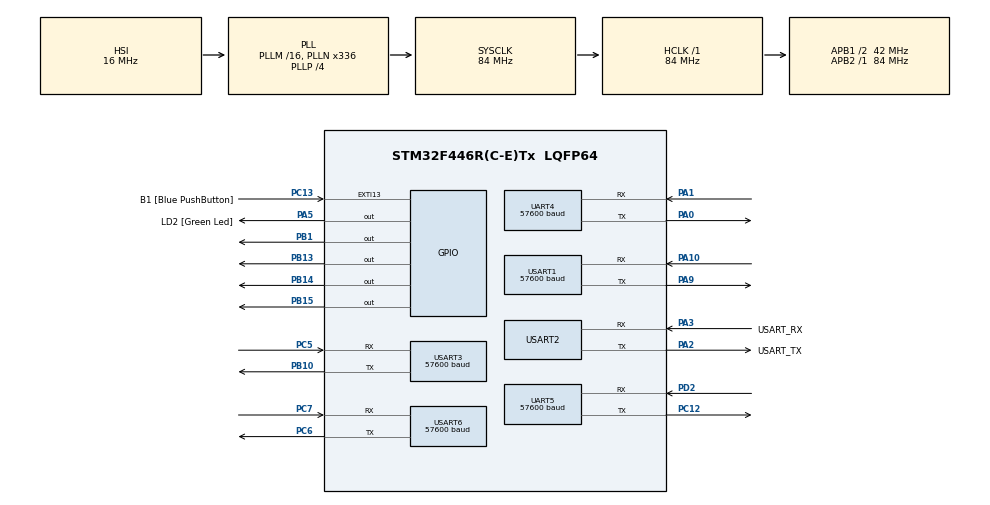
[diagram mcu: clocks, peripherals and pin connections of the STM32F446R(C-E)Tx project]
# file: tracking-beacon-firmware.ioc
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Dma.Request0=USART1_RX
Dma.Request1=UART5_RX
Dma.Request2=USART3_RX
Dma.Request3=USART6_RX
Dma.Request4=USART2_RX
Dma.Request5=USART2_TX
Dma.Request6=USART1_TX
Dma.Request7=UART4_RX
Dma.UART4_RX.7.Direction=DMA_PERIPH_TO_MEMORY
Dma.UART4_RX.7.FIFOMode=DMA_FIFOMODE_DISABLE
Dma.UART4_RX.7.Instance=DMA1_Stream2
Dma.UART4_RX.7.MemDataAlignment=DMA_MDATAALIGN_BYTE
Dma.UART4_RX.7.MemInc=DMA_MINC_ENABLE
Dma.UART4_RX.7.Mode=DMA_CIRCULAR
Dma.UART4_RX.7.PeriphDataAlignment=DMA_PDATAALIGN_BYTE
Dma.UART4_RX.7.PeriphInc=DMA_PINC_DISABLE
Dma.UART4_RX.7.Priority=DMA_PRIORITY_LOW
Dma.UART5_RX.1.Direction=DMA_PERIPH_TO_MEMORY
Dma.UART5_RX.1.FIFOMode=DMA_FIFOMODE_DISABLE
Dma.UART5_RX.1.Instance=DMA1_Stream0
Dma.UART5_RX.1.MemDataAlignment=DMA_MDATAALIGN_BYTE
Dma.UART5_RX.1.MemInc=DMA_MINC_ENABLE
Dma.UART5_RX.1.Mode=DMA_CIRCULAR
Dma.UART5_RX.1.PeriphDataAlignment=DMA_PDATAALIGN_BYTE
Dma.UART5_RX.1.PeriphInc=DMA_PINC_DISABLE
Dma.UART5_RX.1.Priority=DMA_PRIORITY_LOW
Dma.USART1_RX.0.Direction=DMA_PERIPH_TO_MEMORY
Dma.USART1_RX.0.FIFOMode=DMA_FIFOMODE_DISABLE
Dma.USART1_RX.0.Instance=DMA2_Stream2
Dma.USART1_RX.0.MemDataAlignment=DMA_MDATAALIGN_BYTE
Dma.USART1_RX.0.MemInc=DMA_MINC_ENABLE
Dma.USART1_RX.0.Mode=DMA_CIRCULAR
Dma.USART1_RX.0.PeriphDataAlignment=DMA_PDATAALIGN_BYTE
Dma.USART1_RX.0.PeriphInc=DMA_PINC_DISABLE
Dma.USART1_RX.0.Priority=DMA_PRIORITY_LOW
Dma.USART1_TX.6.Direction=DMA_MEMORY_TO_PERIPH
Dma.USART1_TX.6.FIFOMode=DMA_FIFOMODE_DISABLE
Dma.USART1_TX.6.Instance=DMA2_Stream7
Dma.USART1_TX.6.MemDataAlignment=DMA_MDATAALIGN_BYTE
Dma.USART1_TX.6.MemInc=DMA_MINC_ENABLE
Dma.USART1_TX.6.Mode=DMA_NORMAL
Dma.USART1_TX.6.PeriphDataAlignment=DMA_PDATAALIGN_BYTE
Dma.USART1_TX.6.PeriphInc=DMA_PINC_DISABLE
Dma.USART1_TX.6.Priority=DMA_PRIORITY_LOW
Dma.USART2_RX.4.Direction=DMA_PERIPH_TO_MEMORY
Dma.USART2_RX.4.FIFOMode=DMA_FIFOMODE_DISABLE
Dma.USART2_RX.4.Instance=DMA1_Stream5
Dma.USART2_RX.4.MemDataAlignment=DMA_MDATAALIGN_BYTE
Dma.USART2_RX.4.MemInc=DMA_MINC_ENABLE
Dma.USART2_RX.4.Mode=DMA_CIRCULAR
Dma.USART2_RX.4.PeriphDataAlignment=DMA_PDATAALIGN_BYTE
Dma.USART2_RX.4.PeriphInc=DMA_PINC_DISABLE
Dma.USART2_RX.4.Priority=DMA_PRIORITY_LOW
Dma.USART2_TX.5.Direction=DMA_MEMORY_TO_PERIPH
Dma.USART2_TX.5.FIFOMode=DMA_FIFOMODE_DISABLE
Dma.USART2_TX.5.Instance=DMA1_Stream6
Dma.USART2_TX.5.MemDataAlignment=DMA_MDATAALIGN_BYTE
Dma.USART2_TX.5.MemInc=DMA_MINC_ENABLE
Dma.USART2_TX.5.Mode=DMA_NORMAL
Dma.USART2_TX.5.PeriphDataAlignment=DMA_PDATAALIGN_BYTE
Dma.USART2_TX.5.PeriphInc=DMA_PINC_DISABLE
Dma.USART2_TX.5.Priority=DMA_PRIORITY_LOW
Dma.USART3_RX.2.Direction=DMA_PERIPH_TO_MEMORY
Dma.USART3_RX.2.FIFOMode=DMA_FIFOMODE_DISABLE
Dma.USART3_RX.2.Instance=DMA1_Stream1
Dma.USART3_RX.2.MemDataAlignment=DMA_MDATAALIGN_BYTE
Dma.USART3_RX.2.MemInc=DMA_MINC_ENABLE
Dma.USART3_RX.2.Mode=DMA_CIRCULAR
Dma.USART3_RX.2.PeriphDataAlignment=DMA_PDATAALIGN_BYTE
Dma.USART3_RX.2.PeriphInc=DMA_PINC_DISABLE
Dma.USART3_RX.2.Priority=DMA_PRIORITY_LOW
Dma.USART6_RX.3.Direction=DMA_PERIPH_TO_MEMORY
Dma.USART6_RX.3.FIFOMode=DMA_FIFOMODE_DISABLE
Dma.USART6_RX.3.Instance=DMA2_Stream1
Dma.USART6_RX.3.MemDataAlignment=DMA_MDATAALIGN_BYTE
Dma.USART6_RX.3.MemInc=DMA_MINC_ENABLE
Dma.USART6_RX.3.Mode=DMA_CIRCULAR
Dma.USART6_RX.3.PeriphDataAlignment=DMA_PDATAALIGN_BYTE
Dma.USART6_RX.3.PeriphInc=DMA_PINC_DISABLE
Dma.USART6_RX.3.Priority=DMA_PRIORITY_LOW
Mcu.Family=STM32F4
Mcu.Name=STM32F446R(C-E)Tx
Mcu.Package=LQFP64
NVIC.DMA1_Stream0_IRQn=true\:0\:0\:false\:false\:true\:false\:true\:true
NVIC.DMA1_Stream1_IRQn=true\:0\:0\:false\:false\:true\:false\:true\:true
NVIC.DMA1_Stream2_IRQn=true\:0\:0\:false\:false\:true\:false\:true\:true
NVIC.DMA1_Stream5_IRQn=true\:0\:0\:false\:false\:true\:false\:true\:true
NVIC.DMA1_Stream6_IRQn=true\:0\:0\:false\:false\:true\:false\:true\:true
NVIC.DMA2_Stream1_IRQn=true\:0\:0\:false\:false\:true\:false\:true\:true
NVIC.DMA2_Stream2_IRQn=true\:0\:0\:false\:false\:true\:false\:true\:true
NVIC.DMA2_Stream7_IRQn=true\:0\:0\:false\:false\:true\:false\:true\:true
NVIC.PriorityGroup=NVIC_PRIORITYGROUP_0
NVIC.UART4_IRQn=true\:0\:0\:false\:false\:true\:true\:true\:true
NVIC.UART5_IRQn=true\:0\:0\:false\:false\:true\:true\:true\:true
NVIC.USART1_IRQn=true\:0\:0\:false\:false\:true\:true\:true\:true
NVIC.USART2_IRQn=true\:0\:0\:false\:false\:true\:true\:true\:true
NVIC.USART3_IRQn=true\:0\:0\:false\:false\:true\:true\:true\:true
NVIC.USART6_IRQn=true\:0\:0\:false\:false\:true\:true\:true\:true
PA0-WKUP.Mode=Asynchronous
PA0-WKUP.Signal=UART4_TX
PA1.Mode=Asynchronous
PA1.Signal=UART4_RX
PA10.Mode=Asynchronous
PA10.Signal=USART1_RX
PA13.GPIO_Label=TMS
PA13.Mode=Serial_Wire
PA13.Signal=SYS_JTMS-SWDIO
PA14.GPIO_Label=TCK
PA14.Mode=Serial_Wire
PA14.Signal=SYS_JTCK-SWCLK
PA2.GPIO_Label=USART_TX
PA2.Mode=Asynchronous
PA2.Signal=USART2_TX
PA3.GPIO_Label=USART_RX
PA3.Mode=Asynchronous
PA3.Signal=USART2_RX
PA5.GPIO_Label=LD2 [Green Led]
PA5.Signal=GPIO_Output
PA9.Mode=Asynchronous
PA9.Signal=USART1_TX
PB1.Signal=GPIO_Output
PB10.Mode=Asynchronous
PB10.Signal=USART3_TX
PB13.Signal=GPIO_Output
PB14.Signal=GPIO_Output
PB15.Signal=GPIO_Output
PB3.GPIO_Label=SWO
PB3.Signal=SYS_JTDO-SWO
PC12.Mode=Asynchronous
PC12.Signal=UART5_TX
PC13.GPIO_Label=B1 [Blue PushButton]
PC13.GPIO_ModeDefaultEXTI=GPIO_MODE_IT_FALLING
PC13.Signal=GPXTI13
PC14-OSC32_IN.Mode=LSE-External-Oscillator
PC14-OSC32_IN.Signal=RCC_OSC32_IN
PC15-OSC32_OUT.Mode=LSE-External-Oscillator
PC15-OSC32_OUT.Signal=RCC_OSC32_OUT
PC5.Mode=Asynchronous
PC5.Signal=USART3_RX
PC6.Mode=Asynchronous
PC6.Signal=USART6_TX
PC7.Mode=Asynchronous
PC7.Signal=USART6_RX
PD2.Mode=Asynchronous
PD2.Signal=UART5_RX
PH0-OSC_IN.Mode=HSE-External-Oscillator
PH0-OSC_IN.Signal=RCC_OSC_IN
PH1-OSC_OUT.Mode=HSE-External-Oscillator
PH1-OSC_OUT.Signal=RCC_OSC_OUT
ProjectManager.HeapSize=0x800
ProjectManager.StackSize=0x1000
ProjectManager.TargetToolchain=CMake
RCC.48MHZClocksFreq_Value=84000000
RCC.AHBFreq_Value=84000000
RCC.APB1CLKDivider=RCC_HCLK_DIV2
RCC.APB1Freq_Value=42000000
RCC.APB1TimFreq_Value=84000000
RCC.APB2Freq_Value=84000000
RCC.APB2TimFreq_Value=84000000
RCC.CortexFreq_Value=84000000
RCC.FLatency-AdvancedSettings=FLASH_LATENCY_2
RCC.HCLKFreq_Value=84000000
RCC.HSE_VALUE=8000000
RCC.HSI_VALUE=16000000
RCC.PLLN=336
RCC.PLLP=RCC_PLLP_DIV4
RCC.SYSCLKFreq_VALUE=84000000
RCC.SYSCLKSource=RCC_SYSCLKSOURCE_PLLCLK
RCC.USBFreq_Value=168000000
RCC.VCOOutputFreq_Value=336000000
UART4.BaudRate=57600
UART4.VirtualMode=Asynchronous
UART5.BaudRate=57600
UART5.VirtualMode=Asynchronous
USART1.BaudRate=57600
USART1.VirtualMode=VM_ASYNC
USART2.VirtualMode=VM_ASYNC
USART3.BaudRate=57600
USART3.VirtualMode=VM_ASYNC
USART6.BaudRate=57600
USART6.VirtualMode=VM_ASYNC
board=NUCLEO-F446RE

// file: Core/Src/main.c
/* USER CODE BEGIN Header */
/**
  ******************************************************************************
  * @file           : main.c
  * @brief          : Main program body
  ******************************************************************************
  * @attention
  *
  * Copyright (c) 2026 STMicroelectronics.
  * All rights reserved.
  *
  * This software is licensed under terms that can be found in the LICENSE file
  * in the root directory of this software component.
  * If no LICENSE file comes with this software, it is provided AS-IS.
  *
  ******************************************************************************
  */
/* USER CODE END Header */
#include "main.h"

/* USER CODE BEGIN Includes */
#include "passthrough.h"
#include "rssi.h"
#include "stepper.h"
#include "setup.h"
/* USER CODE END Includes */

UART_HandleTypeDef huart4;
UART_HandleTypeDef huart5;
UART_HandleTypeDef huart1;
UART_HandleTypeDef huart2;
UART_HandleTypeDef huart3;
UART_HandleTypeDef huart6;
DMA_HandleTypeDef hdma_uart4_rx;
DMA_HandleTypeDef hdma_uart5_rx;
DMA_HandleTypeDef hdma_usart1_rx;
DMA_HandleTypeDef hdma_usart1_tx;
DMA_HandleTypeDef hdma_usart2_rx;
DMA_HandleTypeDef hdma_usart2_tx;
DMA_HandleTypeDef hdma_usart3_rx;
DMA_HandleTypeDef hdma_usart6_rx;

void SystemClock_Config(void);
static void MX_GPIO_Init(void);
static void MX_DMA_Init(void);
static void MX_USART2_UART_Init(void);
static void MX_USART1_UART_Init(void);
static void MX_UART5_Init(void);
static void MX_USART3_UART_Init(void);
static void MX_UART4_Init(void);
static void MX_USART6_UART_Init(void);

int main(void)
{

  /* MCU Configuration--------------------------------------------------------*/

  /* Reset of all peripherals, Initializes the Flash interface and the Systick. */
  HAL_Init();

  /* Configure the system clock */
  SystemClock_Config();

  /* Initialize all configured peripherals */
  MX_GPIO_Init();
  MX_DMA_Init();
  MX_USART2_UART_Init();
  MX_USART1_UART_Init();
  MX_UART5_Init();
  MX_USART3_UART_Init();
  MX_UART4_Init();
  MX_USART6_UART_Init();
  /* USER CODE BEGIN 2 */
  Stepper_Init(); //set gpios, pulse width, pulse delay, ...

  //to see the commands, run screen /dev/cu.usbmodem1103 115200 on a seperate terminal
  Setup_ManualAlign(); // blocks until user presses ENTER. uses uart2 to echo keys to the mcu, and translate those to commands for the stepper motor and driver
  Passthrough_Init();
  Setup_Init();
  RSSI_Init();
  /* USER CODE END 2 */

  /* Infinite loop */
  while (1)
  {

    /* USER CODE BEGIN 3 */
    Setup_Poll();
    RSSI_Poll();
    Stepper_Poll();
  }
  /* USER CODE END 3 */
}

void SystemClock_Config(void)
{
  RCC_OscInitTypeDef RCC_OscInitStruct = {0};
  RCC_ClkInitTypeDef RCC_ClkInitStruct = {0};

  /** Configure the main internal regulator output voltage
  */
  __HAL_RCC_PWR_CLK_ENABLE();
  __HAL_PWR_VOLTAGESCALING_CONFIG(PWR_REGULATOR_VOLTAGE_SCALE3);

  /** Initializes the RCC Oscillators according to the specified parameters
  * in the RCC_OscInitTypeDef structure.
  */
  RCC_OscInitStruct.OscillatorType = RCC_OSCILLATORTYPE_HSI;
  RCC_OscInitStruct.HSIState = RCC_HSI_ON;
  RCC_OscInitStruct.HSICalibrationValue = RCC_HSICALIBRATION_DEFAULT;
  RCC_OscInitStruct.PLL.PLLState = RCC_PLL_ON;
  RCC_OscInitStruct.PLL.PLLSource = RCC_PLLSOURCE_HSI;
  RCC_OscInitStruct.PLL.PLLM = 16;
  RCC_OscInitStruct.PLL.PLLN = 336;
  RCC_OscInitStruct.PLL.PLLP = RCC_PLLP_DIV4;
  RCC_OscInitStruct.PLL.PLLQ = 2;
  RCC_OscInitStruct.PLL.PLLR = 2;
  if (HAL_RCC_OscConfig(&RCC_OscInitStruct) != HAL_OK)
  {
    Error_Handler();
  }

  /** Initializes the CPU, AHB and APB buses clocks
  */
  RCC_ClkInitStruct.ClockType = RCC_CLOCKTYPE_HCLK|RCC_CLOCKTYPE_SYSCLK
                              |RCC_CLOCKTYPE_PCLK1|RCC_CLOCKTYPE_PCLK2;
  RCC_ClkInitStruct.SYSCLKSource = RCC_SYSCLKSOURCE_PLLCLK;
  RCC_ClkInitStruct.AHBCLKDivider = RCC_SYSCLK_DIV1;
  RCC_ClkInitStruct.APB1CLKDivider = RCC_HCLK_DIV2;
  RCC_ClkInitStruct.APB2CLKDivider = RCC_HCLK_DIV1;

  if (HAL_RCC_ClockConfig(&RCC_ClkInitStruct, FLASH_LATENCY_2) != HAL_OK)
  {
    Error_Handler();
  }
}

static void MX_UART4_Init(void)
{

  huart4.Instance = UART4;
  huart4.Init.BaudRate = 57600;
  huart4.Init.WordLength = UART_WORDLENGTH_8B;
  huart4.Init.StopBits = UART_STOPBITS_1;
  huart4.Init.Parity = UART_PARITY_NONE;
  huart4.Init.Mode = UART_MODE_TX_RX;
  huart4.Init.HwFlowCtl = UART_HWCONTROL_NONE;
  huart4.Init.OverSampling = UART_OVERSAMPLING_16;
  if (HAL_UART_Init(&huart4) != HAL_OK)
  {
    Error_Handler();
  }

}

static void MX_UART5_Init(void)
{

  huart5.Instance = UART5;
  huart5.Init.BaudRate = 57600;
  huart5.Init.WordLength = UART_WORDLENGTH_8B;
  huart5.Init.StopBits = UART_STOPBITS_1;
  huart5.Init.Parity = UART_PARITY_NONE;
  huart5.Init.Mode = UART_MODE_TX_RX;
  huart5.Init.HwFlowCtl = UART_HWCONTROL_NONE;
  huart5.Init.OverSampling = UART_OVERSAMPLING_16;
  if (HAL_UART_Init(&huart5) != HAL_OK)
  {
    Error_Handler();
  }

}

static void MX_USART1_UART_Init(void)
{

  huart1.Instance = USART1;
  huart1.Init.BaudRate = 57600;
  huart1.Init.WordLength = UART_WORDLENGTH_8B;
  huart1.Init.StopBits = UART_STOPBITS_1;
  huart1.Init.Parity = UART_PARITY_NONE;
  huart1.Init.Mode = UART_MODE_TX_RX;
  huart1.Init.HwFlowCtl = UART_HWCONTROL_NONE;
  huart1.Init.OverSampling = UART_OVERSAMPLING_16;
  if (HAL_UART_Init(&huart1) != HAL_OK)
  {
    Error_Handler();
  }

}

static void MX_USART2_UART_Init(void)
{

  huart2.Instance = USART2;
  huart2.Init.BaudRate = 115200;
  huart2.Init.WordLength = UART_WORDLENGTH_8B;
  huart2.Init.StopBits = UART_STOPBITS_1;
  huart2.Init.Parity = UART_PARITY_NONE;
  huart2.Init.Mode = UART_MODE_TX_RX;
  huart2.Init.HwFlowCtl = UART_HWCONTROL_NONE;
  huart2.Init.OverSampling = UART_OVERSAMPLING_16;
  if (HAL_UART_Init(&huart2) != HAL_OK)
  {
    Error_Handler();
  }

}

static void MX_USART3_UART_Init(void)
{

  huart3.Instance = USART3;
  huart3.Init.BaudRate = 57600;
  huart3.Init.WordLength = UART_WORDLENGTH_8B;
  huart3.Init.StopBits = UART_STOPBITS_1;
  huart3.Init.Parity = UART_PARITY_NONE;
  huart3.Init.Mode = UART_MODE_TX_RX;
  huart3.Init.HwFlowCtl = UART_HWCONTROL_NONE;
  huart3.Init.OverSampling = UART_OVERSAMPLING_16;
  if (HAL_UART_Init(&huart3) != HAL_OK)
  {
    Error_Handler();
  }

}

static void MX_USART6_UART_Init(void)
{

  huart6.Instance = USART6;
  huart6.Init.BaudRate = 57600;
  huart6.Init.WordLength = UART_WORDLENGTH_8B;
  huart6.Init.StopBits = UART_STOPBITS_1;
  huart6.Init.Parity = UART_PARITY_NONE;
  huart6.Init.Mode = UART_MODE_TX_RX;
  huart6.Init.HwFlowCtl = UART_HWCONTROL_NONE;
  huart6.Init.OverSampling = UART_OVERSAMPLING_16;
  if (HAL_UART_Init(&huart6) != HAL_OK)
  {
    Error_Handler();
  }

}

static void MX_DMA_Init(void)
{

  /* DMA controller clock enable */
  __HAL_RCC_DMA2_CLK_ENABLE();
  __HAL_RCC_DMA1_CLK_ENABLE();

  /* DMA interrupt init */
  /* DMA1_Stream0_IRQn interrupt configuration */
  HAL_NVIC_SetPriority(DMA1_Stream0_IRQn, 0, 0);
  HAL_NVIC_EnableIRQ(DMA1_Stream0_IRQn);
  /* DMA1_Stream1_IRQn interrupt configuration */
  HAL_NVIC_SetPriority(DMA1_Stream1_IRQn, 0, 0);
  HAL_NVIC_EnableIRQ(DMA1_Stream1_IRQn);
  /* DMA1_Stream2_IRQn interrupt configuration */
  HAL_NVIC_SetPriority(DMA1_Stream2_IRQn, 0, 0);
  HAL_NVIC_EnableIRQ(DMA1_Stream2_IRQn);
  /* DMA1_Stream5_IRQn interrupt configuration */
  HAL_NVIC_SetPriority(DMA1_Stream5_IRQn, 0, 0);
  HAL_NVIC_EnableIRQ(DMA1_Stream5_IRQn);
  /* DMA1_Stream6_IRQn interrupt configuration */
  HAL_NVIC_SetPriority(DMA1_Stream6_IRQn, 0, 0);
  HAL_NVIC_EnableIRQ(DMA1_Stream6_IRQn);
  /* DMA2_Stream1_IRQn interrupt configuration */
  HAL_NVIC_SetPriority(DMA2_Stream1_IRQn, 0, 0);
  HAL_NVIC_EnableIRQ(DMA2_Stream1_IRQn);
  /* DMA2_Stream2_IRQn interrupt configuration */
  HAL_NVIC_SetPriority(DMA2_Stream2_IRQn, 0, 0);
  HAL_NVIC_EnableIRQ(DMA2_Stream2_IRQn);
  /* DMA2_Stream7_IRQn interrupt configuration */
  HAL_NVIC_SetPriority(DMA2_Stream7_IRQn, 0, 0);
  HAL_NVIC_EnableIRQ(DMA2_Stream7_IRQn);

}

static void MX_GPIO_Init(void)
{
  GPIO_InitTypeDef GPIO_InitStruct = {0};

  /* GPIO Ports Clock Enable */
  __HAL_RCC_GPIOC_CLK_ENABLE();
  __HAL_RCC_GPIOH_CLK_ENABLE();
  __HAL_RCC_GPIOA_CLK_ENABLE();
  __HAL_RCC_GPIOB_CLK_ENABLE();
  __HAL_RCC_GPIOD_CLK_ENABLE();

  /*Configure GPIO pin Output Level */
  HAL_GPIO_WritePin(LD2_GPIO_Port, LD2_Pin, GPIO_PIN_RESET);

  /*Configure GPIO pin Output Level */
  HAL_GPIO_WritePin(GPIOB, GPIO_PIN_1|GPIO_PIN_13|GPIO_PIN_14|GPIO_PIN_15, GPIO_PIN_RESET);

  /*Configure GPIO pin : B1_Pin */
  GPIO_InitStruct.Pin = B1_Pin;
  GPIO_InitStruct.Mode = GPIO_MODE_IT_FALLING;
  GPIO_InitStruct.Pull = GPIO_NOPULL;
  HAL_GPIO_Init(B1_GPIO_Port, &GPIO_InitStruct);

  /*Configure GPIO pin : LD2_Pin */
  GPIO_InitStruct.Pin = LD2_Pin;
  GPIO_InitStruct.Mode = GPIO_MODE_OUTPUT_PP;
  GPIO_InitStruct.Pull = GPIO_NOPULL;
  GPIO_InitStruct.Speed = GPIO_SPEED_FREQ_LOW;
  HAL_GPIO_Init(LD2_GPIO_Port, &GPIO_InitStruct);

  /*Configure GPIO pins : PB1 PB13 PB14 PB15 */
  GPIO_InitStruct.Pin = GPIO_PIN_1|GPIO_PIN_13|GPIO_PIN_14|GPIO_PIN_15;
  GPIO_InitStruct.Mode = GPIO_MODE_OUTPUT_PP;
  GPIO_InitStruct.Pull = GPIO_NOPULL;
  GPIO_InitStruct.Speed = GPIO_SPEED_FREQ_LOW;
  HAL_GPIO_Init(GPIOB, &GPIO_InitStruct);

}

/* USER CODE BEGIN 4 */
void HAL_UARTEx_RxEventCallback(UART_HandleTypeDef *huart, uint16_t Size)
{
  Passthrough_HandleRxEvent(huart, Size);
  Setup_HandleRxEvent(huart, Size);
  RSSI_HandleRxEvent(huart, Size);
}

void HAL_UART_TxCpltCallback(UART_HandleTypeDef *huart)
{
  Passthrough_HandleTxCplt(huart);
}
/* USER CODE END 4 */

void Error_Handler(void)
{
  __disable_irq();
  while (1)
  {
  }
}
